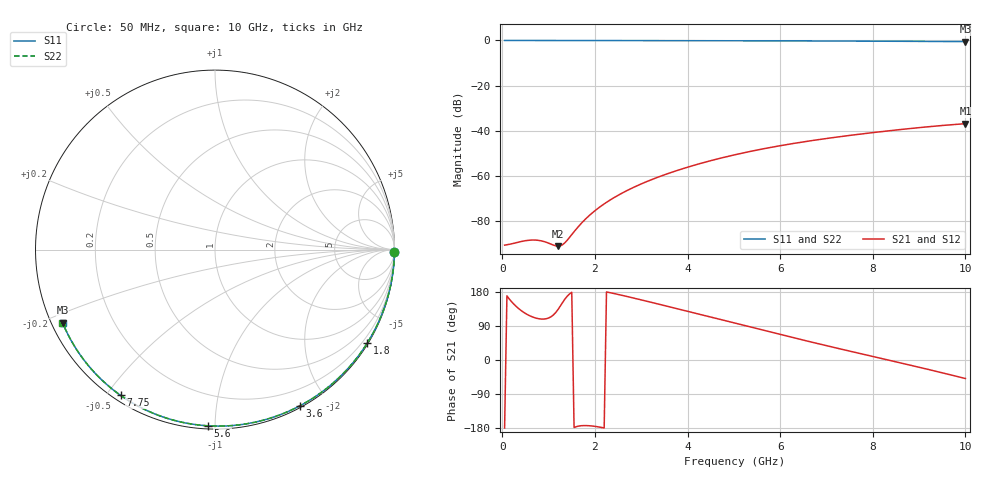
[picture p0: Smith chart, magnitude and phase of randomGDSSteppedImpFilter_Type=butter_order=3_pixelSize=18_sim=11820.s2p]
! freq	dB(S11)	phase(S11)	dB(S12)	phase(S12)
!  dB(S21)	phase(S21)	dB(S22)	phase(S22)
!S-par simulation data
#  GHz  S  DB  R 50
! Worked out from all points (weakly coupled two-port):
!   200 points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, 50 MHz to 10 GHz, reference 50 ohm
!   highest |S21| = -36.88 dB at 10 GHz (marker M1); lowest = -91.2 dB at 1.2 GHz (marker M2)
!   lowest |S11| = -0.5 dB at 10 GHz (marker M3), VSWR 33.50, Z = 1.57 - j11.3 ohm
!   |S11| at or under -10 dB: nowhere
!   |S22| runs from -0.5 to 0.0 dB; largest |S21 - S12| = 0
!   S11 on the Smith chart (normalised r, x): 50 MHz: open; 1.8 GHz: 0.03, -3.54; 3.6 GHz: 0.02, -1.68; 5.6 GHz: 0.02, -0.96; 7.75 GHz: 0.02, -0.54; 10 GHz: 0.03, -0.23
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0.05  -0.00 -0.9  -90.70 -179.4  -90.70 -179.4  -0.00 -0.9
0.6  -0.01 -10.7  -88.48 116.3  -88.48 116.3  -0.01 -10.7
1.2  -0.03 -21.2  -91.16 132.7  -91.16 132.7  -0.03 -21.2
1.75  -0.04 -30.7  -80.10 -173.1  -80.10 -173.1  -0.04 -30.7
1.8  -0.04 -31.6  -79.07 -173.0  -79.07 -173.0  -0.04 -31.6
1.95  -0.04 -34.1  -76.29 -174.3  -76.29 -174.3  -0.04 -34.1
2.1  -0.05 -36.7  -73.87 -177.0  -73.87 -177.0  -0.05 -36.7
2.25  -0.05 -39.2  -71.73 179.6  -71.73 179.6  -0.05 -39.2
2.45  -0.05 -42.6  -69.20 174.4  -69.20 174.4  -0.05 -42.6
2.65  -0.06 -45.9  -66.96 168.9  -66.96 168.9  -0.06 -45.9
2.9  -0.06 -50.1  -64.48 161.6  -64.48 161.6  -0.07 -50.1
3.4  -0.08 -58.3  -60.29 146.7  -60.29 146.7  -0.08 -58.3
3.6  -0.08 -61.5  -58.82 140.7  -58.82 140.7  -0.08 -61.5
4.3  -0.10 -72.6  -54.38 119.4  -54.38 119.4  -0.10 -72.6
5.05  -0.13 -84.1  -50.53 96.4  -50.53 96.4  -0.13 -84.1
5.6  -0.15 -92.3  -48.16 79.6  -48.16 79.6  -0.15 -92.3
6.15  -0.18 -100.3  -46.11 62.9  -46.11 62.9  -0.18 -100.3
6.7  -0.21 -108.2  -44.33 46.6  -44.33 46.6  -0.21 -108.2
7.75  -0.29 -123.0  -41.45 16.4  -41.45 16.4  -0.29 -123.0
8.35  -0.34 -131.3  -40.02 -0.6  -40.02 -0.6  -0.34 -131.3
9.2  -0.43 -143.1  -38.23 -24.9  -38.23 -24.9  -0.43 -143.2
10  -0.52 -154.4  -36.88 -48.9  -36.88 -48.9  -0.52 -154.4
